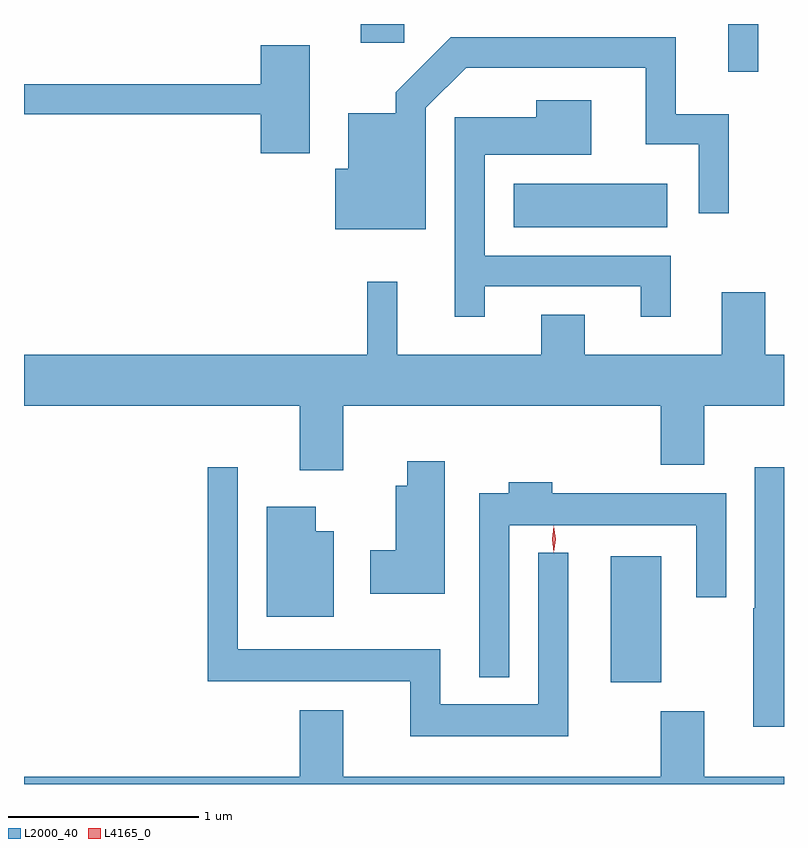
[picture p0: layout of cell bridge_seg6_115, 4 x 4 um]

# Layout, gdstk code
import gdstk
lib = gdstk.Library(unit=1e-6, precision=1e-09)
def R(c, l, rs):  # rectangles x0, y0, x1, y1
    for r in rs: c.add(gdstk.rectangle(r[:2], r[2:], *l))
def P(c, l, *ps):  # polygons
    for p in ps: c.add(gdstk.Polygon(p, *l))
L2000_40 = (2000, 40)
L4165_0 = (4165, 0)

bridge_seg6_115 = lib.new_cell('bridge_seg6_115')
R(bridge_seg6_115, L2000_40, [(1092.156,1599.641,1092.424,1600.304), (1091.646,1602.036,1092.454,1602.264), (1092.776,1602.853,1092.934,1603.105), (1090.841,1603.006,1091.069,1603.105)])
P(bridge_seg6_115, L2000_40, [(1091.184,1602.664),(1091.397,1602.876),(1092.341,1602.876),(1092.341,1602.471),(1092.621,1602.471),(1092.621,1602.108),(1092.779,1602.108),(1092.779,1602.629),(1092.499,1602.629),(1092.499,1603.034),(1091.314,1603.034),(1091.026,1602.747),(1091.026,1602.634),(1090.776,1602.634),(1090.776,1602.344),(1090.706,1602.344),(1090.706,1602.026),(1091.184,1602.026)],
  [(1090.574,1602.994),(1090.316,1602.994),(1090.316,1602.789),(1089.069,1602.789),(1089.069,1602.631),(1090.316,1602.631),(1090.316,1602.426),(1090.574,1602.426)],
  [(1091.494,1601.726),(1092.316,1601.726),(1092.316,1601.563),(1092.474,1601.563),(1092.474,1601.884),(1091.494,1601.884),(1091.494,1602.416),(1092.054,1602.416),(1092.054,1602.704),(1091.766,1602.704),(1091.766,1602.614),(1091.336,1602.614),(1091.336,1601.563),(1091.494,1601.563)],
  [(1090.749,1601.096),(1092.421,1601.096),(1092.421,1600.786),(1092.649,1600.786),(1092.649,1601.096),(1093.069,1601.096),(1093.069,1601.364),(1092.969,1601.364),(1092.969,1601.694),(1092.741,1601.694),(1092.741,1601.364),(1092.019,1601.364),(1092.019,1601.574),(1091.791,1601.574),(1091.791,1601.364),(1091.034,1601.364),(1091.034,1601.748),(1090.876,1601.748),(1090.876,1601.364),(1089.069,1601.364),(1089.069,1601.096),(1090.521,1601.096),(1090.521,1600.756),(1090.749,1600.756)],
  [(1091.284,1600.804),(1091.086,1600.804),(1091.086,1600.674),(1091.026,1600.674),(1091.026,1600.334),(1090.891,1600.334),(1090.891,1600.106),(1091.284,1600.106)],
  [(1093.069,1600.773),(1092.916,1600.773),(1092.916,1600.03),(1092.906,1600.03),(1092.906,1599.406),(1093.069,1599.406)],
  [(1091.934,1600.323),(1091.776,1600.323),(1091.776,1599.524),(1091.259,1599.524),(1091.259,1599.814),(1090.194,1599.814),(1090.194,1600.773),(1090.036,1600.773),(1090.036,1599.646),(1091.101,1599.646),(1091.101,1599.356),(1091.934,1599.356)],
  [(1091.624,1600.466),(1092.606,1600.466),(1092.606,1600.088),(1092.764,1600.088),(1092.764,1600.634),(1091.849,1600.634),(1091.849,1600.694),(1091.621,1600.694),(1091.621,1600.634),(1091.466,1600.634),(1091.466,1599.668),(1091.624,1599.668)],
  [(1090.699,1600.434),(1090.604,1600.434),(1090.604,1600.564),(1090.346,1600.564),(1090.346,1599.986),(1090.699,1599.986)],
  [(1093.069,1599.144),(1092.649,1599.144),(1092.649,1599.489),(1092.421,1599.489),(1092.421,1599.144),(1090.749,1599.144),(1090.749,1599.494),(1090.521,1599.494),(1090.521,1599.144),(1089.069,1599.144),(1089.069,1599.105),(1093.069,1599.105)])
P(bridge_seg6_115, L4165_0, [(1091.858,1600.323),(1091.858,1600.324),(1091.848,1600.393),(1091.858,1600.462),(1091.858,1600.463),(1091.858,1600.462),(1091.868,1600.393),(1091.858,1600.324)])

lib.write_gds('bridge_seg6_115.gds')
